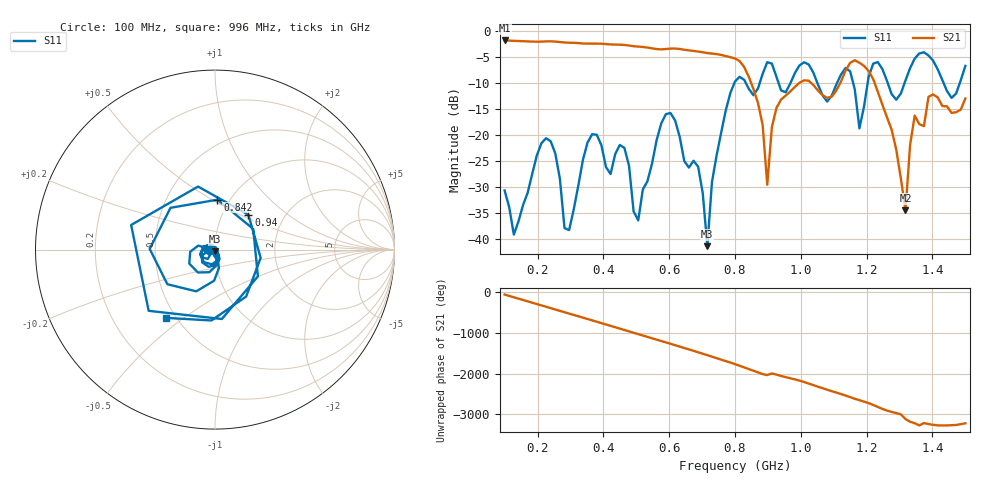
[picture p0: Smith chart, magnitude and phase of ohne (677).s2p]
! NanoVNA-App
! Date: 2025-09-25 14:26:04
! Start: 100MHz Stop: 1,5GHz Points: 101
! S-Parameter data: F S11 S21 S12 S22
# Hz S RI R 50
!  Frequency  S11_Real  S11_Imag  S21_Real  S21_Imag  S12_Real  S12_Imag  S22_Real  S22_Imag
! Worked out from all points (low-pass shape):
!   101 points, 100 MHz to 1.5 GHz, reference 50 ohm
!   highest |S21| = -1.79 dB at 100 MHz (marker M1); lowest = -34.5 dB at 1.318 GHz (marker M2)
!   |S21| within 3 dB of the highest: start of sweep to 771.2 MHz
!   lowest |S11| = -41.3 dB at 716 MHz (marker M3), VSWR 1.02, Z = 49.8 - j0.84 ohm
!   |S11| at or under -10 dB: start of sweep to 798 MHz; 833.1 MHz to 875 MHz (41.94 MHz wide, 4.91 % of centre); 1.05 GHz to 1.11 GHz (59.36 MHz wide, 5.5 % of centre)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
!   S12 and S22 are empty: the file has one direction only
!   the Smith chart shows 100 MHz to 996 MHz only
!   S11 on the Smith chart (normalised r, x): 100 MHz: 0.94, -0.01; 842 MHz: 0.88, +0.53; 940 MHz: 1.32, +0.56; 996 MHz: 0.44, -0.43
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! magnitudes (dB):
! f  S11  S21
! 100 MHz  -30.6  -1.8
! 128 MHz  -39.1  -1.9
! 226 MHz  -20.6  -2.0
! 296 MHz  -38.3  -2.2
! 338 MHz  -24.7  -2.4
! 464 MHz  -22.5  -2.7
! 506 MHz  -36.4  -3.0
! 576 MHz  -17.7  -3.5
! 688 MHz  -26.1  -3.9
! 716 MHz  -41.3  -4.2
! 800 MHz  -9.7  -5.3
! 842 MHz  -11.1  -8.8
! 898 MHz  -6.0  -29.5
! 940 MHz  -11.4  -13.2
! 996 MHz  -6.6  -9.9
! 1.038 GHz  -8.0  -10.4
! 1.178 GHz  -18.7  -6.1
! 1.22 GHz  -6.3  -9.2
! 1.276 GHz  -12.1  -19.0
! 1.318 GHz  -9.5  -34.5
! 1.346 GHz  -5.3  -16.2
! 1.5 GHz  -6.7  -12.9
